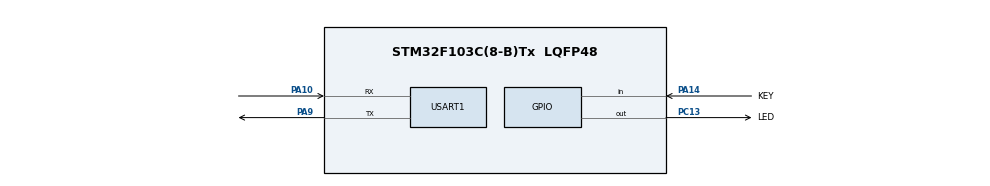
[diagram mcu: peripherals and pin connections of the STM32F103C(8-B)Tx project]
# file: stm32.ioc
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Dma.Request0=USART1_TX
Dma.USART1_TX.0.Direction=DMA_MEMORY_TO_PERIPH
Dma.USART1_TX.0.Instance=DMA1_Channel4
Dma.USART1_TX.0.MemDataAlignment=DMA_MDATAALIGN_BYTE
Dma.USART1_TX.0.MemInc=DMA_MINC_ENABLE
Dma.USART1_TX.0.Mode=DMA_NORMAL
Dma.USART1_TX.0.PeriphDataAlignment=DMA_PDATAALIGN_BYTE
Dma.USART1_TX.0.PeriphInc=DMA_PINC_DISABLE
Dma.USART1_TX.0.Priority=DMA_PRIORITY_LOW
Mcu.Family=STM32F1
Mcu.Name=STM32F103C(8-B)Tx
Mcu.Package=LQFP48
NVIC.DMA1_Channel4_IRQn=true\:0\:0\:false\:false\:true\:false\:true\:true
NVIC.PriorityGroup=NVIC_PRIORITYGROUP_4
PA10.Mode=Asynchronous
PA10.Signal=USART1_RX
PA14.GPIO_Label=KEY
PA14.GPIO_PuPd=GPIO_PULLUP
PA14.Signal=GPIO_Input
PA9.Mode=Asynchronous
PA9.Signal=USART1_TX
PC13-TAMPER-RTC.GPIO_Label=LED
PC13-TAMPER-RTC.Signal=GPIO_Output
ProjectManager.HeapSize=0x200
ProjectManager.StackSize=0x400
ProjectManager.TargetToolchain=CMake
RCC.APB1Freq_Value=8000000
RCC.APB2Freq_Value=8000000
USART1.VirtualMode=VM_ASYNC
VP_SYS_VS_ND.Mode=No_Debug
board=custom

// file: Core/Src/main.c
/* USER CODE BEGIN Header */
/**
  ******************************************************************************
  * @file           : main.c
  * @brief          : Main program body
  ******************************************************************************
  * @attention
  *
  * Copyright (c) 2025 STMicroelectronics.
  * All rights reserved.
  *
  * This software is licensed under terms that can be found in the LICENSE file
  * in the root directory of this software component.
  * If no LICENSE file comes with this software, it is provided AS-IS.
  *
  ******************************************************************************
  */
/* USER CODE END Header */
#include "main.h"

/* USER CODE BEGIN Includes */
#include "tt_task.h"
#include "key.h"
#include "key_task.h"
#include "event_tasks.h"
#include "tt_device.h"
#include "printf_uart.h"
#include "stm32_def.h"
#include "stdio.h"
/* USER CODE END Includes */

UART_HandleTypeDef huart1;
DMA_HandleTypeDef hdma_usart1_tx;

/* USER CODE BEGIN PV */
// Define task structures
static tt_task_t key_task;
static tt_task_t short_press_task;
static tt_task_t long_press_task;
static tt_task_t idle_print_task;

// Define key device
static key_device_t key_dev;
/* USER CODE END PV */

void SystemClock_Config(void);
static void MX_GPIO_Init(void);
static void MX_DMA_Init(void);
static void MX_USART1_UART_Init(void);
/* USER CODE BEGIN PFP */
void SystemTick_Handler(void);
/* USER CODE END PFP */

/* USER CODE BEGIN 0 */
void idle_print_task_func(void *arg)
{
    TT_TASK_START;
    printf("idle print task started\n");
    while (1) {
      printf("idle print task\n");
      TT_TASK_DELAY_MS(10000);
    }

    TT_TASK_END;
}
/* USER CODE END 0 */

int main(void)
{

  /* MCU Configuration--------------------------------------------------------*/

  /* Reset of all peripherals, Initializes the Flash interface and the Systick. */
  HAL_Init();

  /* Configure the system clock */
  SystemClock_Config();

  /* Initialize all configured peripherals */
  MX_GPIO_Init();
  MX_DMA_Init();
  MX_USART1_UART_Init();
  /* USER CODE BEGIN 2 */

    int i = 0;
  while(i < 3)
  {
    HAL_GPIO_WritePin(LED_GPIO_Port, LED_Pin, GPIO_PIN_RESET);
    HAL_Delay(300);
    HAL_GPIO_WritePin(LED_GPIO_Port, LED_Pin, GPIO_PIN_SET);
    HAL_Delay(300);
    i++;
  }

  // Initialize UART print
  printf_uart_init();

  printf("test key and led\n");
  printf("short press: led blink once\n");
  printf("long press: led blink five times\n");

  // Initialize task system
  tt_task_init();

  // Configure SysTick timer as task system clock
  HAL_SYSTICK_Config(HAL_RCC_GetHCLKFreq() / 1000);
  HAL_SYSTICK_CLKSourceConfig(SYSTICK_CLKSOURCE_HCLK);
  HAL_NVIC_SetPriority(SysTick_IRQn, 0, 0);

  // Register key device
  register_key_device(&key_dev);

  // Create tasks
  tt_task_create(&idle_print_task, "led_blink_task", idle_print_task_func);
  tt_task_create(&key_task, "key_task", key_task_func);
  tt_task_create(&short_press_task, "short_press_task", short_press_task_func);
  tt_task_create(&long_press_task, "long_press_task", long_press_task_func);
  /* USER CODE END 2 */

  /* Infinite loop */
  while (1)
  {

    /* USER CODE BEGIN 3 */
    // Task scheduling
    tt_task_start_schedule();
  }
  /* USER CODE END 3 */
}

void SystemClock_Config(void)
{
  RCC_OscInitTypeDef RCC_OscInitStruct = {0};
  RCC_ClkInitTypeDef RCC_ClkInitStruct = {0};

  /** Initializes the RCC Oscillators according to the specified parameters
  * in the RCC_OscInitTypeDef structure.
  */
  RCC_OscInitStruct.OscillatorType = RCC_OSCILLATORTYPE_HSI;
  RCC_OscInitStruct.HSIState = RCC_HSI_ON;
  RCC_OscInitStruct.HSICalibrationValue = RCC_HSICALIBRATION_DEFAULT;
  RCC_OscInitStruct.PLL.PLLState = RCC_PLL_NONE;
  if (HAL_RCC_OscConfig(&RCC_OscInitStruct) != HAL_OK)
  {
    Error_Handler();
  }

  /** Initializes the CPU, AHB and APB buses clocks
  */
  RCC_ClkInitStruct.ClockType = RCC_CLOCKTYPE_HCLK|RCC_CLOCKTYPE_SYSCLK
                              |RCC_CLOCKTYPE_PCLK1|RCC_CLOCKTYPE_PCLK2;
  RCC_ClkInitStruct.SYSCLKSource = RCC_SYSCLKSOURCE_HSI;
  RCC_ClkInitStruct.AHBCLKDivider = RCC_SYSCLK_DIV1;
  RCC_ClkInitStruct.APB1CLKDivider = RCC_HCLK_DIV1;
  RCC_ClkInitStruct.APB2CLKDivider = RCC_HCLK_DIV1;

  if (HAL_RCC_ClockConfig(&RCC_ClkInitStruct, FLASH_LATENCY_0) != HAL_OK)
  {
    Error_Handler();
  }
}

static void MX_USART1_UART_Init(void)
{

  huart1.Instance = USART1;
  huart1.Init.BaudRate = 115200;
  huart1.Init.WordLength = UART_WORDLENGTH_8B;
  huart1.Init.StopBits = UART_STOPBITS_1;
  huart1.Init.Parity = UART_PARITY_NONE;
  huart1.Init.Mode = UART_MODE_TX_RX;
  huart1.Init.HwFlowCtl = UART_HWCONTROL_NONE;
  huart1.Init.OverSampling = UART_OVERSAMPLING_16;
  if (HAL_UART_Init(&huart1) != HAL_OK)
  {
    Error_Handler();
  }

}

static void MX_DMA_Init(void)
{

  /* DMA controller clock enable */
  __HAL_RCC_DMA1_CLK_ENABLE();

  /* DMA interrupt init */
  /* DMA1_Channel4_IRQn interrupt configuration */
  HAL_NVIC_SetPriority(DMA1_Channel4_IRQn, 0, 0);
  HAL_NVIC_EnableIRQ(DMA1_Channel4_IRQn);

}

static void MX_GPIO_Init(void)
{
  GPIO_InitTypeDef GPIO_InitStruct = {0};

  /* GPIO Ports Clock Enable */
  __HAL_RCC_GPIOC_CLK_ENABLE();
  __HAL_RCC_GPIOA_CLK_ENABLE();

  /*Configure GPIO pin Output Level */
  HAL_GPIO_WritePin(LED_GPIO_Port, LED_Pin, GPIO_PIN_RESET);

  /*Configure GPIO pin : LED_Pin */
  GPIO_InitStruct.Pin = LED_Pin;
  GPIO_InitStruct.Mode = GPIO_MODE_OUTPUT_PP;
  GPIO_InitStruct.Pull = GPIO_NOPULL;
  GPIO_InitStruct.Speed = GPIO_SPEED_FREQ_LOW;
  HAL_GPIO_Init(LED_GPIO_Port, &GPIO_InitStruct);

  /*Configure GPIO pin : KEY_Pin */
  GPIO_InitStruct.Pin = KEY_Pin;
  GPIO_InitStruct.Mode = GPIO_MODE_INPUT;
  GPIO_InitStruct.Pull = GPIO_PULLUP;
  HAL_GPIO_Init(KEY_GPIO_Port, &GPIO_InitStruct);

}

void Error_Handler(void)
{
  __disable_irq();
  while (1)
  {
  }
}
